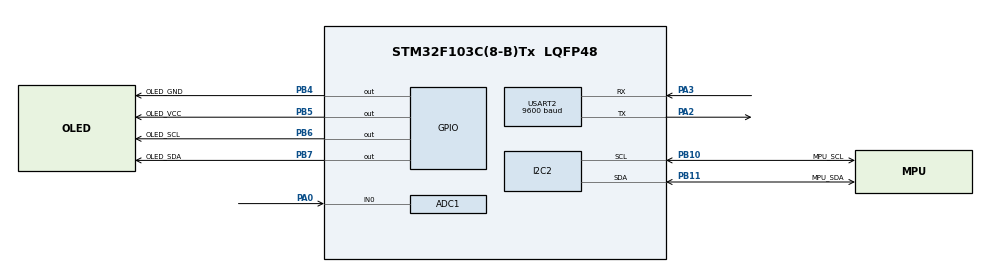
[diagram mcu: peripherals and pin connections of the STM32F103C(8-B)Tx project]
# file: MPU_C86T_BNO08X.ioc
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ADC1.Channel-0\#ChannelRegularConversion=ADC_CHANNEL_0
ADC1.ContinuousConvMode=DISABLE
ADC1.NbrOfConversionFlag=1
ADC1.Rank-0\#ChannelRegularConversion=1
ADC1.SamplingTime-0\#ChannelRegularConversion=ADC_SAMPLETIME_1CYCLE_5
ADC1.master=1
Dma.ADC1.0.Direction=DMA_PERIPH_TO_MEMORY
Dma.ADC1.0.Instance=DMA1_Channel1
Dma.ADC1.0.MemDataAlignment=DMA_MDATAALIGN_HALFWORD
Dma.ADC1.0.MemInc=DMA_MINC_DISABLE
Dma.ADC1.0.Mode=DMA_CIRCULAR
Dma.ADC1.0.PeriphDataAlignment=DMA_PDATAALIGN_HALFWORD
Dma.ADC1.0.PeriphInc=DMA_PINC_DISABLE
Dma.ADC1.0.Priority=DMA_PRIORITY_LOW
Dma.Request0=ADC1
FREERTOS.BinarySemaphores01=myBinarySem01,Dynamic,NULL,Available
FREERTOS.CountingSemaphores01=myCountingSem01,2,Dynamic,NULL,0
FREERTOS.Mutexes01=OLED_State,Dynamic,NULL,Available;myMutex02,Dynamic,NULL,Available
FREERTOS.Queues01=myQueue01,1,uint16_t,0,Dynamic,NULL,NULL
FREERTOS.Tasks01=defaultTask,24,128,StartDefaultTask,Default,NULL,Dynamic,NULL,NULL;myTask02,24,128,StartTask02,Default,NULL,Dynamic,NULL,NULL;myTask03,8,128,StartTask03,Default,NULL,Dynamic,NULL,NULL
I2C2.I2C_Mode=I2C_Fast
Mcu.Family=STM32F1
Mcu.Name=STM32F103C(8-B)Tx
Mcu.Package=LQFP48
NVIC.DMA1_Channel1_IRQn=true\:5\:0\:false\:false\:true\:true\:false\:true\:true
NVIC.PriorityGroup=NVIC_PRIORITYGROUP_4
NVIC.TIM1_UP_IRQn=true\:15\:0\:false\:false\:true\:false\:false\:true\:true
NVIC.TimeBase=TIM1_UP_IRQn
NVIC.TimeBaseIP=TIM1
PA0-WKUP.Signal=ADCx_IN0
PA13.Mode=Serial_Wire
PA13.Signal=SYS_JTMS-SWDIO
PA14.Mode=Serial_Wire
PA14.Signal=SYS_JTCK-SWCLK
PA2.Mode=Asynchronous
PA2.Signal=USART2_TX
PA3.Mode=Asynchronous
PA3.Signal=USART2_RX
PB10.GPIO_Label=MPU_SCL
PB10.GPIO_Speed=GPIO_SPEED_FREQ_HIGH
PB10.Mode=I2C
PB10.Signal=I2C2_SCL
PB11.GPIO_Label=MPU_SDA
PB11.Mode=I2C
PB11.Signal=I2C2_SDA
PB4.GPIO_Label=OLED_GND
PB4.PinState=GPIO_PIN_RESET
PB4.Signal=GPIO_Output
PB5.GPIO_Label=OLED_VCC
PB5.PinState=GPIO_PIN_SET
PB5.Signal=GPIO_Output
PB6.GPIO_Label=OLED_SCL
PB6.GPIO_ModeDefaultOutputPP=GPIO_MODE_OUTPUT_OD
PB6.GPIO_PuPd=GPIO_NOPULL
PB6.PinState=GPIO_PIN_SET
PB6.Signal=GPIO_Output
PB7.GPIO_Label=OLED_SDA
PB7.GPIO_ModeDefaultOutputPP=GPIO_MODE_OUTPUT_OD
PB7.GPIO_PuPd=GPIO_NOPULL
PB7.PinState=GPIO_PIN_SET
PB7.Signal=GPIO_Output
PD0-OSC_IN.Mode=HSE-External-Oscillator
PD0-OSC_IN.Signal=RCC_OSC_IN
PD1-OSC_OUT.Mode=HSE-External-Oscillator
PD1-OSC_OUT.Signal=RCC_OSC_OUT
ProjectManager.HeapSize=0x200
ProjectManager.StackSize=0x400
ProjectManager.TargetToolchain=MDK-ARM V5
RCC.APB1Freq_Value=8000000
RCC.APB2Freq_Value=8000000
SH.ADCx_IN0.0=ADC1_IN0,IN0
USART2.BaudRate=9600
USART2.VirtualMode=VM_ASYNC
VP_FREERTOS_VS_CMSIS_V2.Mode=CMSIS_V2
VP_SYS_VS_tim1.Mode=TIM1
board=custom

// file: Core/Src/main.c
/* USER CODE BEGIN Header */
/**
  ******************************************************************************
  * @file           : main.c
  * @brief          : Main program body
  ******************************************************************************
  * @attention
  *
  * Copyright (c) 2026 STMicroelectronics.
  * All rights reserved.
  *
  * This software is licensed under terms that can be found in the LICENSE file
  * in the root directory of this software component.
  * If no LICENSE file comes with this software, it is provided AS-IS.
  *
  ******************************************************************************
  */
/* USER CODE END Header */
#include "main.h"
#include "cmsis_os.h"
#include "adc.h"
#include "dma.h"
#include "i2c.h"
#include "usart.h"
#include "gpio.h"

/* USER CODE BEGIN Includes */
#include "OLED.h"
#include <stdio.h>
#include <math.h>
/* USER CODE END Includes */

/* USER CODE BEGIN PM */

/*
 * printf 重定向到 USART2（PA2=TX, PA3=RX, 9600 8N1）
 * 注意：原工程这里会把 printf 的内容同时画到 OLED 上并 HAL_Delay(10)，
 *       那样会严重拖慢传感器读取，已改成只输出到串口。
 */
int fputc(int ch, FILE *f)
{
  uint8_t temp[1] = {(uint8_t)ch};
  HAL_UART_Transmit(&huart2, temp, 1, 100);
  return ch;
}

/* USER CODE END PM */

void SystemClock_Config(void);
void MX_FREERTOS_Init(void);

int main(void)
{

  /* MCU Configuration--------------------------------------------------------*/

  /* Reset of all peripherals, Initializes the Flash interface and the Systick. */
  HAL_Init();

  /* Configure the system clock */
  SystemClock_Config();

  /* Initialize all configured peripherals */
  MX_GPIO_Init();
  MX_DMA_Init();
  MX_I2C2_Init();
  MX_USART2_UART_Init();
  MX_ADC1_Init();
  /* USER CODE BEGIN 2 */
	OLED_Init();
	/* 开机提示：随后由 myTask02 刷新为实时航向角 */
	OLED_ShowString(1, 1, "  BNO08X IMU  ");
	OLED_ShowString(2, 1, "  INIT ...    ");
  /* USER CODE END 2 */

  /* Init scheduler */
  osKernelInitialize();  /* Call init function for freertos objects (in cmsis_os2.c) */
  MX_FREERTOS_Init();

  /* Start scheduler */
  osKernelStart();

  /* We should never get here as control is now taken by the scheduler */

  /* Infinite loop */
  /* USER CODE BEGIN WHILE */
	OLED_Clear();
  while (1)
  {
    /* USER CODE END WHILE */

  }
}

void SystemClock_Config(void)
{
  RCC_OscInitTypeDef RCC_OscInitStruct = {0};
  RCC_ClkInitTypeDef RCC_ClkInitStruct = {0};
  RCC_PeriphCLKInitTypeDef PeriphClkInit = {0};

  /** Initializes the RCC Oscillators according to the specified parameters
  * in the RCC_OscInitTypeDef structure.
  */
  RCC_OscInitStruct.OscillatorType = RCC_OSCILLATORTYPE_HSI;
  RCC_OscInitStruct.HSIState = RCC_HSI_ON;
  RCC_OscInitStruct.HSICalibrationValue = RCC_HSICALIBRATION_DEFAULT;
  RCC_OscInitStruct.PLL.PLLState = RCC_PLL_NONE;
  if (HAL_RCC_OscConfig(&RCC_OscInitStruct) != HAL_OK)
  {
    Error_Handler();
  }

  /** Initializes the CPU, AHB and APB buses clocks
  */
  RCC_ClkInitStruct.ClockType = RCC_CLOCKTYPE_HCLK|RCC_CLOCKTYPE_SYSCLK
                              |RCC_CLOCKTYPE_PCLK1|RCC_CLOCKTYPE_PCLK2;
  RCC_ClkInitStruct.SYSCLKSource = RCC_SYSCLKSOURCE_HSI;
  RCC_ClkInitStruct.AHBCLKDivider = RCC_SYSCLK_DIV1;
  RCC_ClkInitStruct.APB1CLKDivider = RCC_HCLK_DIV1;
  RCC_ClkInitStruct.APB2CLKDivider = RCC_HCLK_DIV1;

  if (HAL_RCC_ClockConfig(&RCC_ClkInitStruct, FLASH_LATENCY_0) != HAL_OK)
  {
    Error_Handler();
  }
  PeriphClkInit.PeriphClockSelection = RCC_PERIPHCLK_ADC;
  PeriphClkInit.AdcClockSelection = RCC_ADCPCLK2_DIV2;
  if (HAL_RCCEx_PeriphCLKConfig(&PeriphClkInit) != HAL_OK)
  {
    Error_Handler();
  }
}

void HAL_TIM_PeriodElapsedCallback(TIM_HandleTypeDef *htim)
{
  if (htim->Instance == TIM1)
  {
    HAL_IncTick();
  }
}

void Error_Handler(void)
{
  __disable_irq();
  while (1)
  {
  }
}

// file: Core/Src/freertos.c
/* USER CODE BEGIN Header */
/**
  ******************************************************************************
  * File Name          : freertos.c
  * Description        : Code for freertos applications
  ******************************************************************************
  * @attention
  *
  * Copyright (c) 2026 STMicroelectronics.
  * All rights reserved.
  *
  * This software is licensed under terms that can be found in the LICENSE file
  * in the root directory of this software component.
  * If no LICENSE file comes with this software, it is provided AS-IS.
  *
  ******************************************************************************
  */
/* USER CODE END Header */

#include "FreeRTOS.h"
#include "task.h"
#include "main.h"
#include "cmsis_os.h"

/* USER CODE BEGIN Includes */
#include "semphr.h"
#include "OLED.h"
#include "BNO08X.h"
#include <stdio.h>
#include <string.h>
/* USER CODE END Includes */

/* Definitions for defaultTask */
osThreadId_t defaultTaskHandle;
const osThreadAttr_t defaultTask_attributes = {
  .name = "defaultTask",
  .stack_size = 128 * 4,
  .priority = (osPriority_t) osPriorityNormal,
};
/* Definitions for myTask02 */
osThreadId_t myTask02Handle;
const osThreadAttr_t myTask02_attributes = {
  .name = "myTask02",
  .stack_size = 384 * 4,
  .priority = (osPriority_t) osPriorityNormal,
};
/* Definitions for myTask03 */
osThreadId_t myTask03Handle;
const osThreadAttr_t myTask03_attributes = {
  .name = "myTask03",
  .stack_size = 128 * 4,
  .priority = (osPriority_t) osPriorityLow,
};
/* Definitions for myQueue01 */
osMessageQueueId_t myQueue01Handle;
const osMessageQueueAttr_t myQueue01_attributes = {
  .name = "myQueue01"
};
/* Definitions for OLED_State */
osMutexId_t OLED_StateHandle;
const osMutexAttr_t OLED_State_attributes = {
  .name = "OLED_State"
};
/* Definitions for myMutex02 */
osMutexId_t myMutex02Handle;
const osMutexAttr_t myMutex02_attributes = {
  .name = "myMutex02"
};
/* Definitions for myBinarySem01 */
osSemaphoreId_t myBinarySem01Handle;
const osSemaphoreAttr_t myBinarySem01_attributes = {
  .name = "myBinarySem01"
};
/* Definitions for myCountingSem01 */
osSemaphoreId_t myCountingSem01Handle;
const osSemaphoreAttr_t myCountingSem01_attributes = {
  .name = "myCountingSem01"
};

/* USER CODE BEGIN FunctionPrototypes */
static void    App_OledLine(uint8_t line, const char *text);
static uint8_t App_FmtFixed1(char *buf, float value, uint8_t show_sign);
static uint8_t App_FmtUint(char *buf, uint32_t value);
static void    App_ShowAttitude(const BNO08X_Data_t *data);
static void    App_PrintAttitude(const BNO08X_Data_t *data);
/* USER CODE END FunctionPrototypes */

void StartDefaultTask(void *argument);
void StartTask02(void *argument);
void StartTask03(void *argument);

void MX_FREERTOS_Init(void); /* (MISRA C 2004 rule 8.1) */

void MX_FREERTOS_Init(void) {
  /* Create the mutex(es) */
  /* creation of OLED_State */
  OLED_StateHandle = osMutexNew(&OLED_State_attributes);

  /* creation of myMutex02 */
  myMutex02Handle = osMutexNew(&myMutex02_attributes);

  /* Create the semaphores(s) */
  /* creation of myBinarySem01 */
  myBinarySem01Handle = osSemaphoreNew(1, 1, &myBinarySem01_attributes);

  /* creation of myCountingSem01 */
  myCountingSem01Handle = osSemaphoreNew(2, 0, &myCountingSem01_attributes);

  /* Create the queue(s) */
  /* creation of myQueue01 */
  myQueue01Handle = osMessageQueueNew (1, sizeof(uint16_t), &myQueue01_attributes);

  /* Create the thread(s) */
  /* creation of defaultTask */
  defaultTaskHandle = osThreadNew(StartDefaultTask, NULL, &defaultTask_attributes);

  /* creation of myTask02 */
  myTask02Handle = osThreadNew(StartTask02, NULL, &myTask02_attributes);

  /* creation of myTask03 */
  myTask03Handle = osThreadNew(StartTask03, NULL, &myTask03_attributes);

}

void StartDefaultTask(void *argument)
{
  for(;;)
  {
    osDelay(1);
  }
}

void StartTask02(void *argument)
{
  /* USER CODE BEGIN StartTask02 */
  const BNO08X_Data_t *data;
  uint32_t t_oled = 0u;
  uint32_t t_print = 0u;
  uint32_t now;

  (void)argument;

  /* 初始化 BNO08X（I2C 或 UART-RVC，由 BNO08X.h 里的 BNO08X_MODE 选择） */
  BNO08X_Init();

  /* Infinite loop */
  for(;;)
  {
    /* 高频服务：读取并解析传感器数据（内部无阻塞等待） */
    BNO08X_Service();
    now  = HAL_GetTick();
    data = BNO08X_GetData();

    /* OLED 每 200ms 刷新一次（5Hz），显示航向角/俯仰角/横滚角；
       串口每 1s 打印一次。两者错开执行，避免一次循环里连续长时间
       阻塞（RVC 模式下 DMA 环形缓冲只有约 89ms 余量）。 */
    if ((uint32_t)(now - t_oled) >= 200u)
    {
      t_oled = now;
      App_ShowAttitude(data);
    }
    else if ((uint32_t)(now - t_print) >= 1000u)
    {
      t_print = now;
      App_PrintAttitude(data);
    }

    osDelay(2);
  }
  /* USER CODE END StartTask02 */
}

void StartTask03(void *argument)
{
  /* USER CODE BEGIN StartTask03 */
  /* Infinite loop */
  for(;;)
  {
    // xSemaphoreTake(myBinarySem01Handle,portMAX_DELAY);
    // printf("Something\n");
    // HAL_Delay(1000);
    // OLED_Clear();
    // //vTaskSuspend(myTask02Handle);
    // xSemaphoreGive(myBinarySem01Handle);

    // vTaskDelay(1);
    osDelay(1);
  }
  /* USER CODE END StartTask03 */
}

/* USER CODE BEGIN Application */

/* 在 OLED 上显示一整行（不足 16 列补空格，防止刷新后残留旧字符） */
static void App_OledLine(uint8_t line, const char *text)
{
  char    buf[17];
  uint8_t i = 0u;

  while ((i < 16u) && (text[i] != '\0'))
  {
    buf[i] = text[i];
    i++;
  }
  while (i < 16u)
  {
    buf[i] = ' ';
    i++;
  }
  buf[16] = '\0';

  OLED_ShowString(line, 1, buf);
}

/* 把定点数格式化成 "123.4" / "-45.6" / "+12.3"（1 位小数），返回字符数 */
static uint8_t App_FmtFixed1(char *buf, float value, uint8_t show_sign)
{
  char     tmp[12];
  uint8_t  n = 0u;
  uint8_t  t = 0u;
  int32_t  scaled;
  uint32_t ipart;
  uint32_t fpart;

  if (value < 0.0f)
  {
    buf[n++] = '-';
    value = -value;
  }
  else if (show_sign != 0u)
  {
    buf[n++] = '+';
  }

  scaled = (int32_t)(value * 10.0f + 0.5f);
  ipart  = (uint32_t)(scaled / 10);
  fpart  = (uint32_t)(scaled % 10);

  do
  {
    tmp[t++] = (char)('0' + (ipart % 10u));
    ipart /= 10u;
  } while (ipart > 0u);

  while (t > 0u)
  {
    buf[n++] = tmp[--t];
  }
  buf[n++] = '.';
  buf[n++] = (char)('0' + fpart);
  buf[n]   = '\0';

  return n;
}

/* 无符号整数转字符串，返回字符数 */
static uint8_t App_FmtUint(char *buf, uint32_t value)
{
  char    tmp[12];
  uint8_t n = 0u;
  uint8_t t = 0u;

  do
  {
    tmp[t++] = (char)('0' + (value % 10u));
    value /= 10u;
  } while (value > 0u);

  while (t > 0u)
  {
    buf[n++] = tmp[--t];
  }
  buf[n] = '\0';

  return n;
}

/* OLED 显示：航向角 + 俯仰 + 横滚 + 状态 */
static void App_ShowAttitude(const BNO08X_Data_t *data)
{
  char        line[17];
  uint8_t     n;
  const char *dir;

  if ((data == NULL) || (data->valid == 0u) || (data->online == 0u))
  {
    if ((data != NULL) && (data->mode == 2u))
    {
      App_OledLine(1, "BNO08X  RVC");
      App_OledLine(2, "NO DATA");
      App_OledLine(3, "CHECK RX(PB11)");
      App_OledLine(4, "PS0=3V3 115200?");
    }
    else
    {
      App_OledLine(1, "BNO08X  I2C");
      App_OledLine(2, "NO DATA");
      App_OledLine(3, "CHECK SCL/SDA");
      App_OledLine(4, "ADDR 4A/4B PULL?");
    }
    return;
  }

  /* 第 1 行：HDG 123.4 NW */
  n = 0u;
  line[n++] = 'H';
  line[n++] = 'D';
  line[n++] = 'G';
  line[n++] = ' ';
  n = (uint8_t)(n + App_FmtFixed1(&line[n], data->yaw, 0u));
  line[n++] = ' ';
  dir = BNO08X_GetCompassDir(data->yaw);
  while ((*dir != '\0') && (n < 16u))
  {
    line[n++] = *dir++;
  }
  line[n] = '\0';
  App_OledLine(1, line);

  /* 第 2 行：PIT +12.3 */
  n = 0u;
  line[n++] = 'P';
  line[n++] = 'I';
  line[n++] = 'T';
  line[n++] = ' ';
  n = (uint8_t)(n + App_FmtFixed1(&line[n], data->pitch, 1u));
  line[n] = '\0';
  App_OledLine(2, line);

  /* 第 3 行：ROL -45.6 */
  n = 0u;
  line[n++] = 'R';
  line[n++] = 'O';
  line[n++] = 'L';
  line[n++] = ' ';
  n = (uint8_t)(n + App_FmtFixed1(&line[n], data->roll, 1u));
  line[n] = '\0';
  App_OledLine(3, line);

  /* 第 4 行：ACC:3 25Hz */
  n = 0u;
  line[n++] = 'A';
  line[n++] = 'C';
  line[n++] = 'C';
  line[n++] = ':';
  line[n++] = (char)('0' + (data->accuracy & 0x0Fu));
  line[n++] = ' ';
  n = (uint8_t)(n + App_FmtUint(&line[n], (uint32_t)data->rate_hz));
  line[n++] = 'H';
  line[n++] = 'z';
  line[n]   = '\0';
  App_OledLine(4, line);
}

/* 串口打印：方便用串口助手（9600 8N1）查看姿态数据 */
static void App_PrintAttitude(const BNO08X_Data_t *data)
{
  char yaw_txt[12];
  char pit_txt[12];
  char rol_txt[12];

  if ((data == NULL) || (data->valid == 0u))
  {
    printf("[BNO08X] waiting data... mode=%d\r\n",
           (data != NULL) ? (int)data->mode : 0);
    return;
  }

  App_FmtFixed1(yaw_txt, data->yaw, 0u);
  App_FmtFixed1(pit_txt, data->pitch, 1u);
  App_FmtFixed1(rol_txt, data->roll, 1u);

  /* 打印格式尽量短：RVC 模式 9600 波特率下约 45ms 发完 */
  printf("[BNO08X] H=%s P=%s R=%s\r\n", yaw_txt, pit_txt, rol_txt);
}

/* USER CODE END Application */
